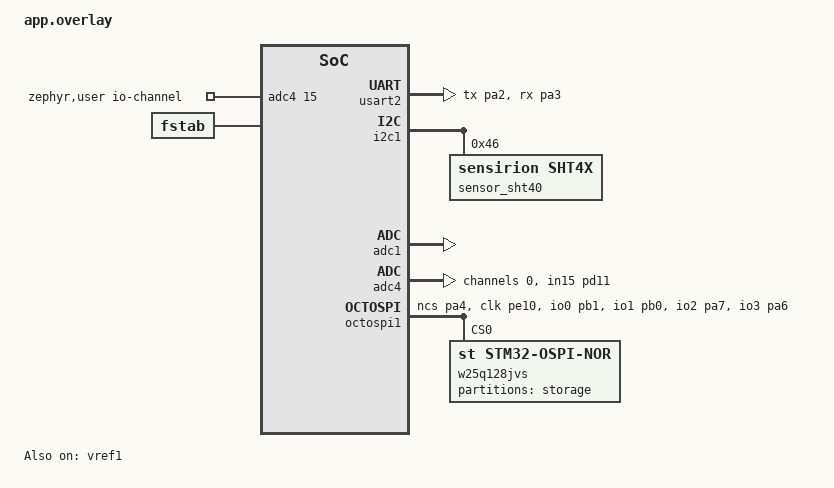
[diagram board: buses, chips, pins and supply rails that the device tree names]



/ {

    chosen {
        //zephyr,console = &cdc_acm_uart0;
        //zephyr,shell-uart = &cdc_acm_uart0;

        zephyr,console = &usart2;
        zephyr,shell-uart= &usart2;



    };

    zephyr,user {
        io-channels = <&adc4 15>;
    };



    aliases {
        led0 = &blue_led_1;
        led1 = &green_led_1;
        led2 = &red_led_1;

    };

    fstab {
        compatible = "zephyr,fstab";
        status = "okay";
        lfs1: lfs1 {
            compatible = "zephyr,fstab,littlefs";
            status = "okay";
            read-size = <32>;
            prog-size = <32>;
            cache-size = <256>;
            lookahead-size = <64>;
            block-cycles = <512>;
            partition = <&storage_partition>;
            mount-point = "/lfs";
            //automount;
        };
    };

};

&vref1 {
    status = "okay";
};

&zephyr_udc0 {
    status = "disabled";
    cdc_acm_uart0: cdc_acm_uart0_ {
        compatible = "zephyr,cdc-acm-uart";
    };
};

&i2c1_scl_pb6 {
    bias-pull-up;
};
&i2c1_sda_pb7 {
    bias-pull-up;
};


&usart2{
     status="okay";
     pinctrl-0 = <&usart2_tx_pa2>, <&usart2_rx_pa3>;

};

&i2c1 {
    status = "okay";

    sensor_sht40: sensor_sht40@44 {
        status = "okay";
        compatible = "sensirion,sht4x";
        reg = <0x46>;
        repeatability = <2>;
    };

};


&adc1 {
    status = "okay";
};
&adc4 {
    status = "okay";
    pinctrl-0 = <&adc4_in15_pd11>;
    #address-cells = <1>;
    #size-cells = <0>;
    channel@14 {
        reg = <0>;
        zephyr,gain = "ADC_GAIN_1";
        zephyr,reference = "ADC_REF_INTERNAL";
        //zephyr,vref-mv = <750>;
        zephyr,acquisition-time = <ADC_ACQ_TIME_DEFAULT>;
        zephyr,resolution = <12>;
        //zephyr,oversampling = <4>;
    };
};


&octospi1 {
    status = "okay";
    pinctrl-0 =<&octospim_p1_ncs_pa4
    &octospim_p1_clk_pe10
    &octospim_p1_io0_pb1
    &octospim_p1_io1_pb0
    &octospim_p1_io2_pa7
    &octospim_p1_io3_pa6>;
    
    pinctrl-names = "default";
    
    w25q128jvs: ospi-nor-flash@0 {
        compatible = "st,stm32-ospi-nor";
        reg = <0>;
        size = <DT_SIZE_M(64)>; /* 512 Mbits */
        data-rate = <OSPI_STR_TRANSFER>; /* access in DTR */
        ospi-max-frequency = <DT_FREQ_M(6)>;
        spi-bus-width=<OSPI_QUAD_MODE>;
        jedec-id= [ EF 40 17 ];
        status = "okay";
        //four-byte-opcodes;
        partitions {
            compatible = "fixed-partitions";
            #address-cells = <0x1>;
            #size-cells = <0x1>;
            storage_partition: partition@0 {
                label = "storage";
                reg = <0x0 DT_SIZE_K(20)>;
                /*phandle = <0x19>;*/
            };
        };
    };
};

/**OCTOSPI1 GPIO Configuration
PE10     ------> OCTOSPIM_P1_CLK
PA4     ------> OCTOSPIM_P1_NCS
PA6     ------> OCTOSPIM_P1_IO3
PA7     ------> OCTOSPIM_P1_IO2
PB0     ------> OCTOSPIM_P1_IO1
PB1     ------> OCTOSPIM_P1_IO0
 */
